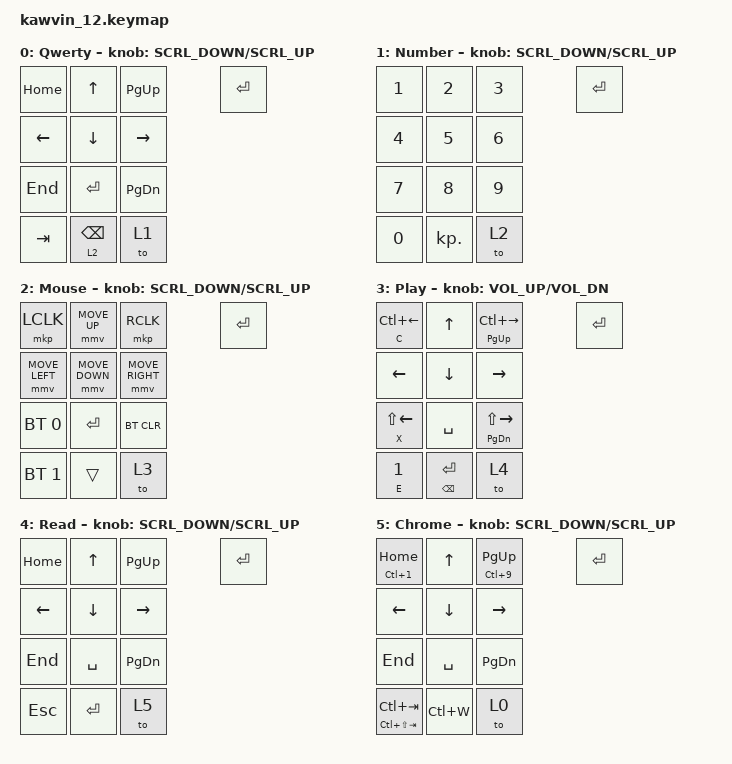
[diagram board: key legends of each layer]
/*
 * Copyright (c) 2023 The ZMK Contributors
 *
 * SPDX-License-Identifier: MIT
 */

//#include "kawvin_12.dtsi"
#include <behaviors/mouse_keys.dtsi>
#include <behaviors.dtsi>
#include <dt-bindings/zmk/bt.h>
#include <dt-bindings/zmk/ext_power.h>
#include <dt-bindings/zmk/keys.h>
#include <dt-bindings/zmk/mouse.h>
#include <dt-bindings/zmk/outputs.h>
#include <dt-bindings/zmk/pointing.h>

//开启指针设备 → 编码器想发滚轮信号
/*
/ {
	pointer0: pointer_default {
		compatible = "zmk,pointer-relative";
	};

	sensors {
		pointer-sensor {
			compatible = "zmk,pointer-sensor";
			pointer = <&pointer0>;
		};
	};
};

&pointer_vel_sensor {
	compatible = "zmk,pointer-vel-sensor";
};
*/

/ {
    behaviors {
        hm: homerow_mods {
            compatible = "zmk,behavior-hold-tap";
            label = "HOMEROW_MODS";
            bindings = <&kp>, <&kp>;

            #binding-cells = <2>;
            tapping-term-ms = <200>;
            quick-tap-ms = <180>;
            flavor = "tap-preferred";
        };

        ltq: ltq {
            compatible = "zmk,behavior-hold-tap";
            label = "LTQ";
            bindings = <&mo>, <&kp>;

            #binding-cells = <2>;
            tapping-term-ms = <300>;
            quick-tap-ms = <180>;
            flavor = "tap-preferred";
        };
    };

    combos {
        compatible = "zmk,combos";

        // 同时按 0 + 1 → ESC

        esc_01 {
            bindings = <&kp ESC>;
            key-positions = <0 1>;
            timeout-ms = <200>;
        };

        // 同时按 1 + 2 → ESC

        esc_02 {
            bindings = <&kp ESC>;
            key-positions = <1 2>;
            timeout-ms = <200>;
        };

        // 在2、5层同时按 2 + 10 → bootloader
        flash {
            bindings = <&bootloader>;
            key-positions = <2 10>;
            timeout-ms = <200>;
            layers = <2 5>;
        };
    };

    macros {
        potplay_c5: potplay_c5 {
            compatible = "zmk,behavior-macro";
            #binding-cells = <0>;
            bindings = <&kp C &kp C &kp C &kp C &kp C>;
            label = "POTPLAY_C5";
        };

        potplay_x5: potplay_x5 {
            compatible = "zmk,behavior-macro";
            #binding-cells = <0>;
            bindings = <&kp X &kp X &kp X &kp X &kp X>;
            label = "POTPLAY_X5";
        };
    };

    keymap {
        compatible = "zmk,keymap";

        qwerty_layer {
            //  ---------------------------------------------------------------------------------
            //  |HOME|UP         |PG_UP|ENTER|
            //  |LEFT|DOWN       |RIGHT|
            //  |END |ENTER      |PG_DN|
            //  |TAB |&ltq 2 BSPC|&to 1|

            bindings = <
                &kp HOME  &kp UP       &kp PG_UP  &kp ENTER
                &kp LEFT  &kp DOWN     &kp RIGHT  
                &kp END   &kp ENTER    &kp PG_DN  
                &kp TAB   &ltq 2 BSPC  &to 1      
            >;

            label = "Qwerty";
            //sensor-bindings = <&pointer_vel_sensor y -120 y 120>;
            sensor-bindings = <&inc_dec_kp SCRL_DOWN SCRL_UP>;
        };

        number_layer {
            //  ---------------------------------------------------------------------------------
            //  |N1|N2 |N3   |ENTER|
            //  |N4|N5 |N6   |
            //  |N7|N8 |N9   |
            //  |N0|DOT|&to 2|

            bindings = <
                &kp N1  &kp N2      &kp N3  &kp ENTER
                &kp N4  &kp N5      &kp N6  
                &kp N7  &kp N8      &kp N9  
                &kp N0  &kp KP_DOT  &to 2   
            >;

            label = "Number";
            //sensor-bindings = <&pointer_vel_sensor y -120 y 120>;
            sensor-bindings = <&inc_dec_kp SCRL_DOWN SCRL_UP>;
        };

        mouse_layer {
            //  ---------------------------------------------------------------------------------
            //  |&mkp LCLK     |&mmv MOVE_UP  |&mkp RCLK      |ENTER|
            //  |&mmv MOVE_LEFT|&mmv MOVE_DOWN|&mmv MOVE_RIGHT|
            //  |BT_SEL 0      |ENTER         |BT_CLR         |
            //  |BT_SEL 1      |              |&to 3          |

            bindings = <
                &mkp LCLK       &mmv MOVE_UP    &mkp RCLK          &kp ENTER
                &mmv MOVE_LEFT  &mmv MOVE_DOWN  &mmv MOVE_RIGHT  
                &bt BT_SEL 0    &kp ENTER       &bt BT_CLR       
                &bt BT_SEL 1    &trans          &to 3            
            >;

            label = "Mouse";
            //sensor-bindings = <&pointer_vel_sensor y -120 y 120>;
            sensor-bindings = <&inc_dec_kp SCRL_DOWN SCRL_UP>;
        };

        play_layer {
            //  ---------------------------------------------------------------------------------
            //  |&mt C LC(LEFT)|UP                 |&mt PG_UP LC(RIGHT)|ENTER|
            //  |LEFT          |DOWN               |RIGHT              |
            //  |&mt X LS(LEFT)|SPACE              |&mt PG_DN LS(RIGHT)|
            //  |&mt E N1      |&mt BACKSPACE ENTER|&to 4              |

            bindings = <
                &mt C LC(LEFT)  &kp UP               &mt PG_UP LC(RIGHT)    &kp ENTER
                &kp LEFT        &kp DOWN             &kp RIGHT            
                &mt X LS(LEFT)  &kp SPACE            &mt PG_DN LS(RIGHT)  
                &mt E N1        &mt BACKSPACE ENTER  &to 4                
            >;

            label = "Play";
            sensor-bindings = <&inc_dec_kp C_VOL_UP C_VOL_DN>;
        };

        read_layer {
            //  ---------------------------------------------------------------------------------
            //  |HOME|UP   |PG_UP|ENTER|
            //  |LEFT|DOWN |RIGHT|
            //  |END |SPACE|PG_DN|
            //  |ESC |ENTER|&to 5|


            bindings = <
                &kp HOME  &kp UP     &kp PG_UP    &kp ENTER
                &kp LEFT  &kp DOWN   &kp RIGHT  
                &kp END   &kp SPACE  &kp PG_DN  
                &kp ESC   &kp ENTER  &to 5      
            >;

            label = "Read";
            //sensor-bindings = <&pointer_vel_sensor y -120 y 120>;
            sensor-bindings = <&inc_dec_kp SCRL_DOWN SCRL_UP>;
        };

        chrome_layer {
            //  ---------------------------------------------------------------------------------
            //  |&mt LC(N1) HOME        |UP   |&mt LC(N9) PG_UP|ENTER|
            //  |LEFT                   |DOWN |RIGHT           |
            //  |END                    |SPACE|PG_DN           |
            //  |&mt LC(LS(TAB)) LC(TAB)|LC(W)|&to 0           |

            bindings = <
                &mt LC(N1) HOME          &kp UP     &mt LC(N9) PG_UP    &kp ENTER
                &kp LEFT                 &kp DOWN   &kp RIGHT         
                &kp END                  &kp SPACE  &kp PG_DN         
                &mt LC(LS(TAB)) LC(TAB)  &kp LC(W)  &to 0             
             >;

            label = "Chrome";
            //sensor-bindings = <&pointer_vel_sensor y -120 y 120>;
            sensor-bindings = <&inc_dec_kp SCRL_DOWN SCRL_UP>;
        };
    };
};
